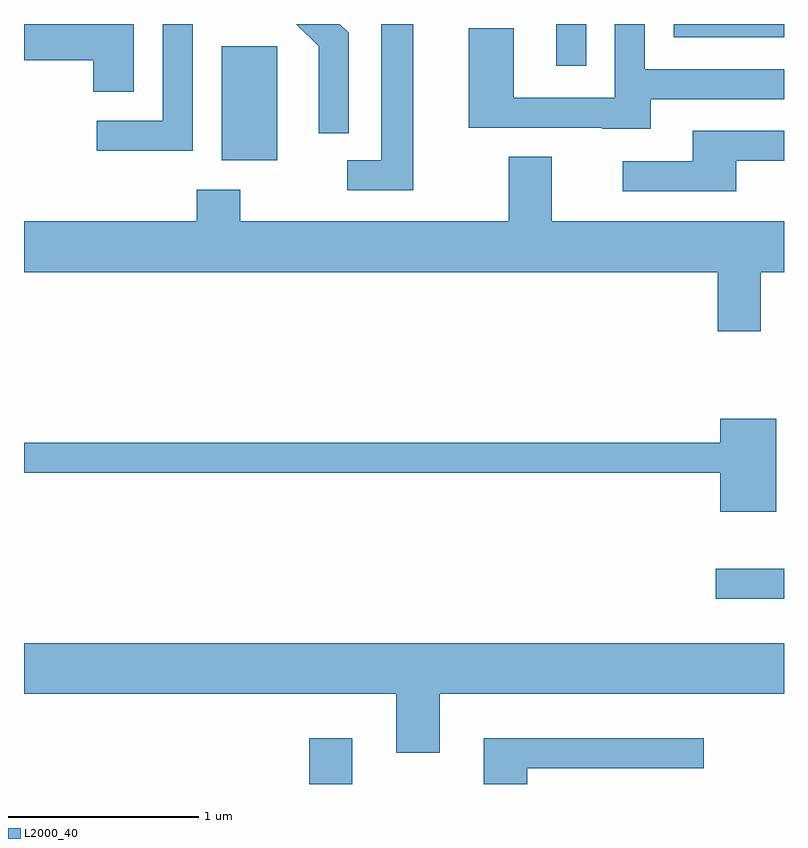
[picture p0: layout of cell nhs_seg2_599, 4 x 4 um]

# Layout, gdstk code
import gdstk
lib = gdstk.Library(unit=1e-6, precision=1e-09)
def R(c, l, rs):  # rectangles x0, y0, x1, y1
    for r in rs: c.add(gdstk.rectangle(r[:2], r[2:], *l))
def P(c, l, *ps):  # polygons
    for p in ps: c.add(gdstk.Polygon(p, *l))
L2000_40 = (2000, 40)

nhs_seg2_599 = lib.new_cell('nhs_seg2_599')
R(nhs_seg2_599, L2000_40, [(203.111,1087.802,203.339,1088.044), (205.253,1088.776,205.611,1088.934), (202.651,1091.086,202.944,1091.684), (204.411,1091.583,204.569,1091.802), (205.031,1091.731,205.611,1091.802)])
P(nhs_seg2_599, L2000_40, [(204.909,1091.406),(205.611,1091.406),(205.611,1091.564),(204.879,1091.564),(204.879,1091.802),(204.721,1091.802),(204.721,1091.414),(204.189,1091.414),(204.189,1091.779),(203.951,1091.779),(203.951,1091.256),(204.655,1091.256),(204.655,1091.251),(204.909,1091.251)],
  [(202.189,1091.802),(201.611,1091.802),(201.611,1091.611),(201.976,1091.611),(201.976,1091.446),(202.189,1091.446)],
  [(203.659,1091.802),(203.491,1091.802),(203.491,1091.084),(203.313,1091.084),(203.313,1090.926),(203.659,1090.926)],
  [(202.499,1091.802),(202.341,1091.802),(202.341,1091.294),(201.993,1091.294),(201.993,1091.136),(202.499,1091.136)],
  [(203.319,1091.757),(203.274,1091.802),(203.043,1091.802),(203.161,1091.684),(203.161,1091.228),(203.319,1091.228)],
  [(205.359,1091.081),(205.611,1091.081),(205.611,1091.239),(205.131,1091.239),(205.131,1091.079),(204.763,1091.079),(204.763,1090.921),(205.359,1090.921)],
  [(205.489,1090.496),(205.611,1090.496),(205.611,1090.764),(204.389,1090.764),(204.389,1091.104),(204.161,1091.104),(204.161,1090.764),(202.749,1090.764),(202.749,1090.929),(202.521,1090.929),(202.521,1090.764),(201.611,1090.764),(201.611,1090.496),(205.261,1090.496),(205.261,1090.186),(205.489,1090.186)],
  [(205.569,1089.724),(205.276,1089.724),(205.276,1089.599),(201.611,1089.599),(201.611,1089.441),(205.276,1089.441),(205.276,1089.236),(205.569,1089.236)],
  [(203.799,1088.276),(205.611,1088.276),(205.611,1088.544),(201.611,1088.544),(201.611,1088.276),(203.571,1088.276),(203.571,1087.966),(203.799,1087.966)],
  [(204.259,1087.886),(205.188,1087.886),(205.188,1088.044),(204.031,1088.044),(204.031,1087.802),(204.259,1087.802)])

lib.write_gds('nhs_seg2_599.gds')
